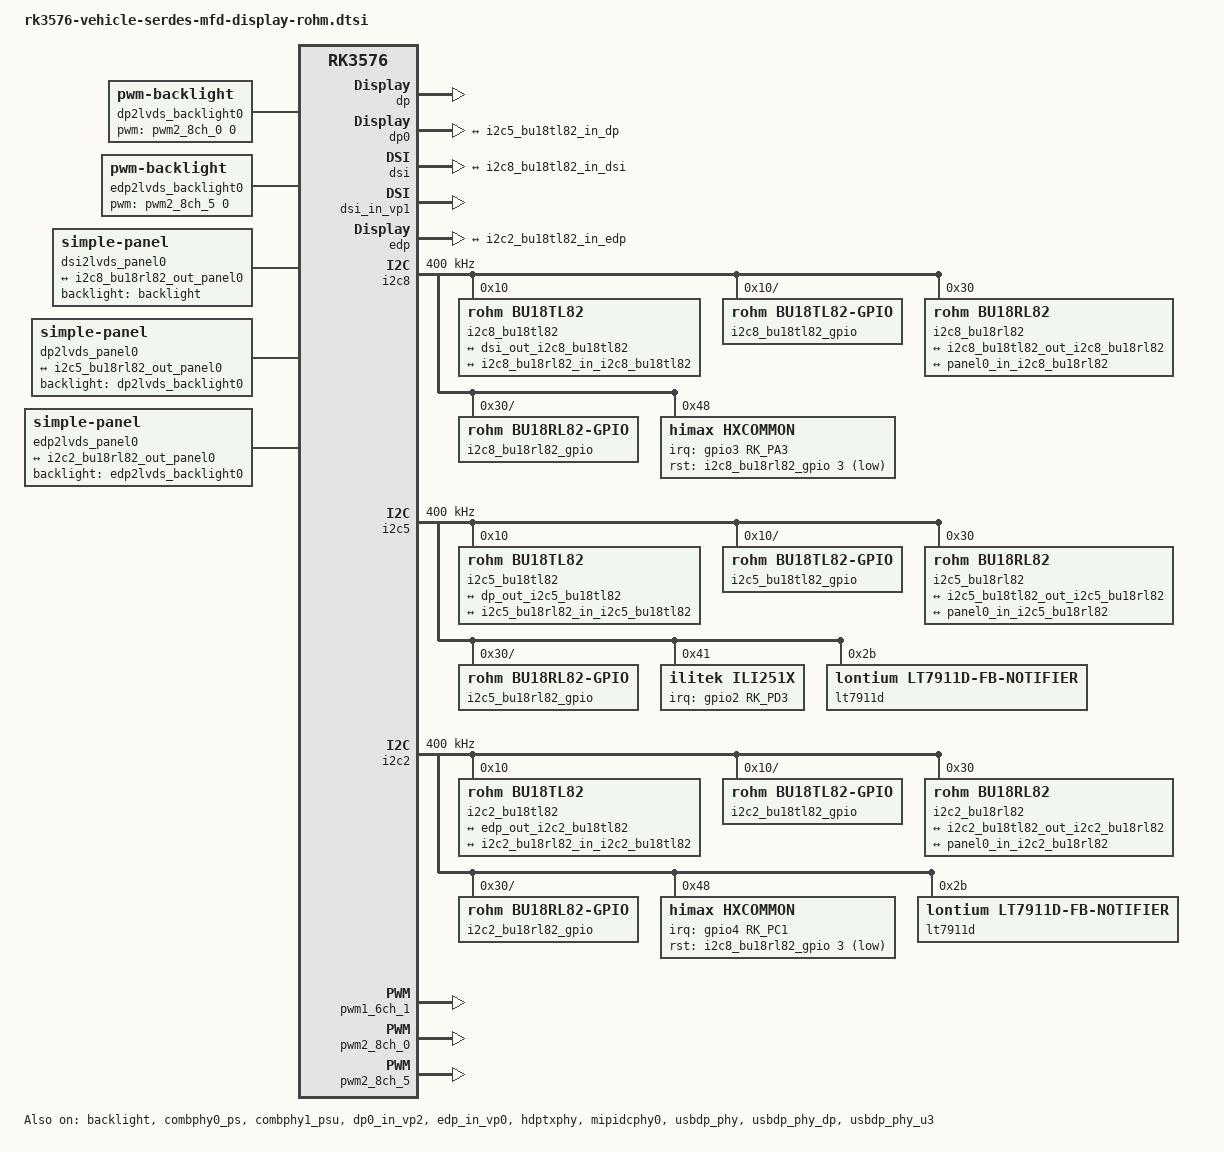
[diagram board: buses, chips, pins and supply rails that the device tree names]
// SPDX-License-Identifier: (GPL-2.0+ OR MIT)
/*
 * Copyright (c) 2023 Rockchip Electronics Co., Ltd.
 *
 */

/ {

	dp2lvds_backlight0: dp2lvds_backlight0 {
		compatible = "pwm-backlight";
		brightness-levels = <
			  0  20  20  21  21  22  22  23
			 23  24  24  25  25  26  26  27
			 27  28  28  29  29  30  30  31
			 31  32  32  33  33  34  34  35
			 35  36  36  37  37  38  38  39
			 40  41  42  43  44  45  46  47
			 48  49  50  51  52  53  54  55
			 56  57  58  59  60  61  62  63
			 64  65  66  67  68  69  70  71
			 72  73  74  75  76  77  78  79
			 80  81  82  83  84  85  86  87
			 88  89  90  91  92  93  94  95
			 96  97  98  99 100 101 102 103
			104 105 106 107 108 109 110 111
			112 113 114 115 116 117 118 119
			120 121 122 123 124 125 126 127
			128 129 130 131 132 133 134 135
			136 137 138 139 140 141 142 143
			144 145 146 147 148 149 150 151
			152 153 154 155 156 157 158 159
			160 161 162 163 164 165 166 167
			168 169 170 171 172 173 174 175
			176 177 178 179 180 181 182 183
			184 185 186 187 188 189 190 191
			192 193 194 195 196 197 198 199
			200 201 202 203 204 205 206 207
			208 209 210 211 212 213 214 215
			216 217 218 219 220 221 222 223
			224 225 226 227 228 229 230 231
			232 233 234 235 236 237 238 239
			240 241 242 243 244 245 246 247
			248 249 250 251 252 253 254 255
		>;
		default-brightness-level = <200>;
	};

	edp2lvds_backlight0: edp2lvds_backlight0 {
		compatible = "pwm-backlight";
		brightness-levels = <
			  0  20  20  21  21  22  22  23
			 23  24  24  25  25  26  26  27
			 27  28  28  29  29  30  30  31
			 31  32  32  33  33  34  34  35
			 35  36  36  37  37  38  38  39
			 40  41  42  43  44  45  46  47
			 48  49  50  51  52  53  54  55
			 56  57  58  59  60  61  62  63
			 64  65  66  67  68  69  70  71
			 72  73  74  75  76  77  78  79
			 80  81  82  83  84  85  86  87
			 88  89  90  91  92  93  94  95
			 96  97  98  99 100 101 102 103
			104 105 106 107 108 109 110 111
			112 113 114 115 116 117 118 119
			120 121 122 123 124 125 126 127
			128 129 130 131 132 133 134 135
			136 137 138 139 140 141 142 143
			144 145 146 147 148 149 150 151
			152 153 154 155 156 157 158 159
			160 161 162 163 164 165 166 167
			168 169 170 171 172 173 174 175
			176 177 178 179 180 181 182 183
			184 185 186 187 188 189 190 191
			192 193 194 195 196 197 198 199
			200 201 202 203 204 205 206 207
			208 209 210 211 212 213 214 215
			216 217 218 219 220 221 222 223
			224 225 226 227 228 229 230 231
			232 233 234 235 236 237 238 239
			240 241 242 243 244 245 246 247
			248 249 250 251 252 253 254 255
		>;
		default-brightness-level = <200>;
	};

	dsi2lvds_panel0 {
		compatible = "simple-panel";
		backlight = <&backlight>;

		display-timings {
			native-mode = <&dsi2lvds0>;
			dsi2lvds0: timing0 {
				clock-frequency = <115000000>;//115000000/105573600
				hactive = <1920>;
				vactive = <720>;
				hfront-porch = <56>;
				hsync-len = <32>;
				hback-porch = <56>;
				vfront-porch = <200>;
				vsync-len = <2>;
				vback-porch = <8>;
				hsync-active = <0>;
				vsync-active = <0>;
				de-active = <0>;
				pixelclk-active = <0>;
			};
		};

		ports {
			#address-cells = <1>;
			#size-cells = <0>;

			port@0 {
				reg = <0>;
				panel0_in_i2c8_bu18rl82: endpoint {
					remote-endpoint = <&i2c8_bu18rl82_out_panel0>;
				};
			};
		};
	};

	dp2lvds_panel0 {
		compatible = "simple-panel";
		backlight = <&dp2lvds_backlight0>;
		status = "okay";

		panel-timing {
			clock-frequency = <148500000>;
			hactive = <1920>;
			vactive = <1080>;
			hfront-porch = <140>;
			hsync-len = <40>;
			hback-porch = <100>;
			vfront-porch = <15>;
			vsync-len = <20>;
			vback-porch = <10>;
			hsync-active = <0>;
			vsync-active = <0>;
			de-active = <0>;
			pixelclk-active = <0>;
		};

		port {
			panel0_in_i2c5_bu18rl82: endpoint {
				remote-endpoint = <&i2c5_bu18rl82_out_panel0>;
			};
		};
	};

	edp2lvds_panel0 {
		compatible = "simple-panel";
		backlight = <&edp2lvds_backlight0>;
		status = "okay";

		panel-timing {
			clock-frequency = <115000000>;//115000000/105573600
			hactive = <1920>;
			vactive = <720>;
			hfront-porch = <56>;
			hsync-len = <32>;
			hback-porch = <56>;
			vfront-porch = <200>;
			vsync-len = <2>;
			vback-porch = <8>;
			hsync-active = <0>;
			vsync-active = <0>;
			de-active = <0>;
			pixelclk-active = <0>;
		};

		port {
			panel0_in_i2c2_bu18rl82: endpoint {
				remote-endpoint = <&i2c2_bu18rl82_out_panel0>;
			};
		};
	};
};

&backlight {
	pwms = <&pwm1_6ch_1 0 25000 0>;
	//pinctrl-names = "default";
	//pinctrl-0 = <&i2c8_serdes_pins>;
	//enable-gpios = <&gpio3 RK_PA2 GPIO_ACTIVE_HIGH>;
	status = "okay";
};

&combphy0_ps {
	status = "okay";
};

&combphy1_psu {
	status = "okay";
};

&dp {
	//split-mode;
	force-hpd;

	status = "okay";
};

&dp0 {
	status = "okay";

	ports {
		port@1 {
			reg = <1>;

			dp_out_i2c5_bu18tl82: endpoint {
				remote-endpoint = <&i2c5_bu18tl82_in_dp>;
			};
		};
	};
};

&dp0_in_vp0 {
	status = "disabled";
};

&dp0_in_vp1 {
	status = "disabled";
};

&dp0_in_vp2 {
	status = "okay";
};

&dp2lvds_backlight0 {
	pwms = <&pwm2_8ch_0 0 25000 0>;
	//pinctrl-names = "default";
	//pinctrl-0 = <&i2c5_serdes_pins>;
	//enable-gpios = <&gpio2 RK_PD2 GPIO_ACTIVE_HIGH>;
	status = "okay";
};

/*
 * mipi_dcphy needs to be enabled
 * when dsi is enabled
 */
&dsi {
	status = "okay";

	ports {
		#address-cells = <1>;
		#size-cells = <0>;

		port@1 {
			reg = <1>;

			dsi_out_i2c8_bu18tl82: endpoint {
				remote-endpoint = <&i2c8_bu18tl82_in_dsi>;
			};
		};
	};
};

&dsi_in_vp0 {
	status = "disabled";
};

&dsi_in_vp1 {
	status = "okay";
};

&dsi_in_vp2 {
	status = "disabled";
};

&edp {
	//split-mode;
	force-hpd;
	status = "okay";

	ports {
		port@1 {
			reg = <1>;

			edp_out_i2c2_bu18tl82: endpoint {
				remote-endpoint = <&i2c2_bu18tl82_in_edp>;
			};
		};
	};
};

&edp_in_vp0 {
	status = "okay";
};

&edp_in_vp1 {
	status = "disabled";
};

&edp_in_vp2 {
	status = "disabled";
};

&edp2lvds_backlight0 {
	pwms = <&pwm2_8ch_5 0 25000 0>;
	//pinctrl-names = "default";
	//pinctrl-0 = <&i2c2_serdes_pins>;
	//enable-gpios = <&gpio2 RK_PB0 GPIO_ACTIVE_HIGH>;
	status = "okay";
};

&hdmi {
	status = "disabled";
};


&hdptxphy {
	status = "okay";
};

&hdptxphy_hdmi {
	status = "disabled";
};


&i2c8 {
	status = "okay";
	pinctrl-names = "default";
	pinctrl-0 = <&i2c8m2_xfer>;
	clock-frequency = <400000>;

	i2c8_bu18tl82: i2c8-bu18tl82@10 {
		compatible = "rohm,bu18tl82";
		reg = <0x10>;
		sel-mipi;
		status = "okay";

		serdes-init-sequence = [
			0013 0019
			0014 0008	//014h[3]-lane1 enable
			0021 0008
			0023 0009
			0024 0009
			022b 0038
			022c 0072
			022d 0023	//VPLL=75MHZS
			//022b 00d8
			//022c 0089
			//022d 003d	//VPLL=99MHz (ref26MHz) 4032984*26/1024x1024=99M
			022e 0080
			027c 0048
			027d 0048	//i2c addr 0x48
			0296 0004
			0297 0009	//CLLTX0_PLL_GAIN 297h[3:2] 1001 2'b10: 1.2~2.3 Gbps/lane
			//0297 000d	//CLLTX0_PLL_GAIN 297h[3:2] 1101 2'b11: 2.2~3.6 Gbps/lane
			0018 00a5
			0019 0069
			0267 003d
			0268 002c
			0269 002c
			026a 002c
			026b 002c
			0367 003d
			0368 002c
			0369 002c
			036a 002c
			036b 002c
			0018 0000
			0019 0000
			//002a 0018	//gpio0 input		lcd_bl_pwm
			//002d 0018	//gpio1 input		lcd_pwr_en

			//0030 0018	//gpio2 input		lcd_rst
			//0033 0018	//gpio3 input		tp_rst
			//0034 0005	//bypass des gpio3
			//0036 0000	//gpio4 output		tp_int
			//0037 0006	//bypass des gpio4

			02a7 0002
			02a8 0003
			02a9 0004
			02aa 0005
			02af 0002	//gpio0 1MHZ
			0045 0080
			0046 0007	//1920
			004b 00d0
			004c 0002	//720
			004d 00d0
			004e 0002	//720
			0051 0080
			0052 0007	//1920
			0053 0024	//CLLCH2_EN 53h[5] 0:1 Clock Tx lane/1:2 Clock Tx lanes
			0054 0080
			024d 0061
			0252 0005
			0274 0030	//I2C slave address of BU18RL82 for accessing via BU18TL82
			0275 0020
			0396 0004
			0397 0009	//CLLTX0_PLL_GAIN 397h[3:2] 1001 2'b10: 1.2~2.31 Gbps/lane
			//0397 000d	//CLLTX0_PLL_GAIN 397h[3:2] 1101 2'b11: 2.2~3.60 Gbps/lane
			0061 0003	//CLLTX0 enable CLLTX1 enable
			0060 0003	//CLLTX0/1 RGB data output Enable
			/* TL82 Pattern Gen Set 1
			 * Horizontal Gray Scale 256 steps
			 */
			040A 0010
			040B 0080
			040C 0080
			040D 0080
			0444 0090
			0446 00d2
		];

		i2c8_bu18tl82_pinctrl: i2c8-bu18tl82-pinctrl {
			compatible = "rohm,bu18tl82-pinctrl";
			pinctrl-names = "default","sleep";
			pinctrl-0 = <&i2c8_bu18tl82_panel_pins>;
			pinctrl-1 = <&i2c8_bu18tl82_panel_pins>;
			status = "okay";

			i2c8_bu18tl82_panel_pins: panel-pins {
				lcd-bl-pwm {
					pins = "BU18TL82_GPIO0";
					function = "SER_TO_DES_GPIO0";
				};

				lcd-pwr-en {
					pins = "BU18TL82_GPIO1";
					function = "SER_TO_DES_GPIO1";
				};

				ser-irq {
					pins = "BU18TL82_GPIO2";
					function = "DES_GPIO2_TO_SER";
				};

				tp-int {
					pins = "BU18TL82_GPIO3";
					function = "DES_GPIO4_TO_SER";
				};
			};

			i2c8_bu18tl82_gpio: i2c8-bu18tl82-gpio {
				compatible = "rohm,bu18tl82-gpio";
				status = "okay";

				gpio-controller;
				#gpio-cells = <2>;
				gpio-ranges = <&i2c8_bu18tl82_pinctrl 0 160 8>;
			};
		};

		i2c8_bu18tl82_bridge: i2c8-bu18tl82-bridge {
			compatible = "rohm,bu18tl82-bridge";
			status = "okay";

			ports {
				#address-cells = <1>;
				#size-cells = <0>;

				port@0 {
					reg = <0>;

					i2c8_bu18tl82_in_dsi: endpoint {
						remote-endpoint = <&dsi_out_i2c8_bu18tl82>;
					};
				};

				port@1 {
					reg = <1>;

					i2c8_bu18tl82_out_i2c8_bu18rl82: endpoint {
						remote-endpoint = <&i2c8_bu18rl82_in_i2c8_bu18tl82>;
					};
				};
			};
		};

	};

	i2c8_bu18rl82: i2c8-bu18rl82@30 {
		compatible = "rohm,bu18rl82";
		reg = <0x30>;
		status = "okay";

		serdes-init-sequence = [
			0011 0003	//Clockless Link Receiver Lane-0+ LVDS portA
			0012 0003	//Clockless Link Receiver Lane-1+ LVDS portB
			0013 0000
			001d 0008
			001f 0002	//LVDSTX0_REFSEL
			0020 0002	//LVDSTX1_REFSEL
			0031 0048
			0032 0048	//i2c addr 0x48
			0423 0000
			0424 0000
			0425 0020
			0426 0080
			0057 0000	//rl gpio0 output	lcd_bl_pwm
			0058 0000	//bypass ser gpio0
			005a 0000	//rl gpio1 output	lcd_pwr_en
			005b 0000	//bypass ser gpio1
			005d 0000	//rl gpio2 output	lcd_rst
			005e 0000	//bypass ser gpio2
			0060 0000	//rl gpio3 output	tp-rst
			0061 0000	//bypass ser gpio3
			0063 0018	//rl gpio4 input	tp-int
			0064 0006	//bypass ser gpio4
			0066 0000	//rl gpio5 output
			0067 0000	//set gpio5 high

			0073 0080
			0074 0007	//0x0780 = 1920
			0075 0080
			0076 0007	//0x0780 = 1920
			0079 000a	//h[3]: dual lvds mode h[1] single lane / dual lane
			007b 00d0
			007c 0002	//0x02d0 = 720
			007d 00d0
			007e 0002	//0x02d0 = 720
			0081 0003	//01---> Sync OFF
			0082 0010	//Hsync=16clk
			0084 001c	//HBP=28clk
			0086 0002	//Vsync=2lines
			0087 0008	//VBP=8lines
			0088 0000	//VSYNC_CHG=0CLK
			0089 0010	//Hsync = 16?
			008b 001c	//HFP=28clk?
			008d 0002	//Vsync=2lines?
			008e 0008	//VFP=8line?
			008f 0000	//VSYNC_CHG=0CLK?
			00d0 0040	//[3]FixHtotalEN
			00d8 00c0
			00d9 0003	//DE=960
			0429 000a	//LVDSTX0_PLLGAIN 2'b10: 30 MHz ~ 80 MHz
			045d 0001
			0529 000a	//LVDSTX1_PLLGAIN 2'b10: 30 MHz ~ 80 MHz
			055d 0001
			0091 0003
			0090 0001
			/* RL82 Pattern Gen Set
			 * Vertical Gray Scale Color Bar
			 */
			060A 00B0
			060B 00FF
			060C 00FF
			060D 00FF
			0644 0090
			0646 00d2
		];

		i2c8_bu18rl82_pinctrl: i2c8-bu18rl82-pinctrl {
			compatible = "rohm,bu18rl82-pinctrl";
			pinctrl-names = "default","init","sleep";
			pinctrl-0 = <&i2c8_bu18rl82_panel_pins>;
			pinctrl-1 = <&i2c8_bu18rl82_panel_pins>;
			pinctrl-2 = <&i2c8_bu18rl82_panel_sleep_pins>;
			status = "okay";

			i2c8_bu18rl82_panel_pins: panel-pins {
				lcd-otp-pin {
					pins = "BU18RL82_GPIO5";
					function = "DES_GPIO_OUTPUT_HIGH";
				};
				tp-rst {
					pins = "BU18RL82_GPIO3";
					function = "DES_GPIO_OUTPUT_HIGH";
				};
				lcd-rst {
					pins = "BU18RL82_GPIO2";
					function = "DES_GPIO_OUTPUT_HIGH";
				};
				tp-int {
					pins = "BU18RL82_GPIO4";
					function = "DES_TO_SER_GPIO3";
				};
				40ms-delay {
					pins = "BU18RL82_GPIO1";
					function = "DELAY_40MS";
				};
				lcd-pwr-en {
					pins = "BU18RL82_GPIO1";
					function = "DES_GPIO_OUTPUT_HIGH";
				};
				lcd-bl-pwm {
					pins = "BU18RL82_GPIO0";
					function = "SER_GPIO0_TO_DES";
				};
			};

			i2c8_bu18rl82_panel_sleep_pins: panel-sleep-pins {
				lcd-rst-sleep {
					pins = "BU18RL82_GPIO2";
					function = "DES_GPIO_OUTPUT_LOW";
				};
				tp-rst-sleep {
					pins = "BU18RL82_GPIO3";
					function = "DES_GPIO_OUTPUT_LOW";
				};
				lcd-otp-pin-sleep {
					pins = "BU18RL82_GPIO5";
					function = "DES_GPIO_OUTPUT_LOW";
				};
			};

			i2c8_bu18rl82_gpio: i2c8-bu18rl82-gpio {
				compatible = "rohm,bu18rl82-gpio";
				status = "okay";

				gpio-controller;
				#gpio-cells = <2>;
				gpio-ranges = <&i2c8_bu18rl82_pinctrl 0 169 8>;
			};
		};

		i2c8_bu18rl82_bridge: i2c8-bu18rl82-bridge {
			compatible = "rohm,bu18rl82-bridge";
			status = "okay";

			ports {
				#address-cells = <1>;
				#size-cells = <0>;

				port@0 {
					reg = <0>;

					i2c8_bu18rl82_in_i2c8_bu18tl82: endpoint {
						remote-endpoint = <&i2c8_bu18tl82_out_i2c8_bu18rl82>;
					};
				};

				port@1 {
					reg = <1>;

					i2c8_bu18rl82_out_panel0: endpoint {
						remote-endpoint = <&panel0_in_i2c8_bu18rl82>;
					};
				};
			};
		};
	};

	himax@48 {
		compatible = "himax,hxcommon";
		reg = <0x48>;
		pinctrl-names = "default", "sleep";
		pinctrl-0 = <&touch_gpio_dsi>;
		pinctrl-1 = <&touch_gpio_dsi>;
		himax,location = "himax-touch-dsi";
		himax,irq-gpio = <&gpio3 RK_PA3 IRQ_TYPE_EDGE_FALLING>;
		himax,rst-gpio = <&i2c8_bu18rl82_gpio 3 GPIO_ACTIVE_LOW>;
		himax,panel-coords = <0 1920 0 720>;
		himax,display-coords = <0 1920 0 720>;
		status = "okay";
	};
};

&i2c5 {
	pinctrl-names = "default";
	pinctrl-0 = <&i2c5m3_xfer>;
	clock-frequency = <400000>;
	status = "okay";

	i2c5_bu18tl82: i2c5-bu18tl82@10 {
		compatible = "rohm,bu18tl82";
		reg = <0x10>;
		status = "okay";

		serdes-init-sequence = [
			0013 001a
			0014 000a
			0021 0008
			0023 0009
			0024 0009
			//002a 0018	//gpio0 input		lcd_bl_pwm
			//002d 0018	//gpio1 input		lcd_pwr_en

			//0030 0018	//gpio2 input		lcd_rst
			//0033 0000	//gpio3 output		tp_int
			//0034 0005	//bypass des gpio3
			//0036 0018	//gpio4 input		tp_rst
			//0037 0006	//bypass des gpio4
			027c 0041
			027d 0041
			0045 0080
			0046 0007
			004b 0038
			004c 0004
			0053 0064
			022b 0062
			022c 0027
			022d 002e
			0274 0030
			0275 0020
			0296 0004
			0297 000d
			02af 0002	//gpio0 1MHZ
			02b2 00c8
			02b4 0001
			02b8 00ff
			02b9 000f
			02ba 00ff
			02bb 000f
			02be 00ff
			02bf 001f
			02c2 00ff
			02c3 001f
			0396 0004
			0397 000d
			03b2 00c8
			03b4 0001
			03b8 00ff
			03b9 000f
			03ba 00ff
			03bb 000f
			03be 00ff
			03bf 001f
			03c2 00ff
			03c3 001f
			0060 0001
			0061 0003
			022e 0080
			032e 0080
			/* TL82 Pattern Gen Set 1
			 * Horizontal Gray Scale 256 steps
			 */
			040A 0010
			040B 0080
			040C 0080
			040D 0080
			0444 0019
			0445 0020
			0446 001f

		];

		i2c5_bu18tl82_pinctrl: i2c5-bu18tl82-pinctrl {
			compatible = "rohm,bu18tl82-pinctrl";
			pinctrl-names = "default","sleep";
			pinctrl-0 = <&i2c5_bu18tl82_panel_pins>;
			pinctrl-1 = <&i2c5_bu18tl82_panel_pins>;
			status = "okay";

			i2c5_bu18tl82_panel_pins: panel-pins {
				lcd-bl-pwm {
					pins = "BU18TL82_GPIO0";
					function = "SER_TO_DES_GPIO0";
				};

				lcd-pwr-en {
					pins = "BU18TL82_GPIO1";
					function = "SER_TO_DES_GPIO1";
				};

				ser-irq {
					pins = "BU18TL82_GPIO2";
					function = "DES_GPIO2_TO_SER";
				};

				tp-int {
					pins = "BU18TL82_GPIO3";
					function = "DES_GPIO3_TO_SER";
				};

			};

			i2c5_bu18tl82_gpio: i2c5-bu18tl82-gpio {
				compatible = "rohm,bu18tl82-gpio";
				status = "okay";

				gpio-controller;
				#gpio-cells = <2>;
				gpio-ranges = <&i2c5_bu18tl82_pinctrl 0 178 8>;
			};
		};

		i2c5_bu18tl82_bridge: i2c5-bu18tl82-bridge {
			compatible = "rohm,bu18tl82-bridge";
			status = "okay";

			ports {
				#address-cells = <1>;
				#size-cells = <0>;

				port@0 {
					reg = <0>;

					i2c5_bu18tl82_in_dp: endpoint {
						remote-endpoint = <&dp_out_i2c5_bu18tl82>;
					};
				};

				port@1 {
					reg = <1>;

					i2c5_bu18tl82_out_i2c5_bu18rl82: endpoint {
						remote-endpoint = <&i2c5_bu18rl82_in_i2c5_bu18tl82>;
					};
				};
			};
		};

	};

	i2c5_bu18rl82: i2c5-bu18rl82@30 {
		compatible = "rohm,bu18rl82";
		reg = <0x30>;
		status = "okay";

		serdes-init-sequence = [
			0011 000b
			0012 0003
			0013 0001
			001d 0008
			001f 0002
			0020 0002
			0031 0041	//i2c addr 0x41
			0032 0041	//i2c addr 0x41
			0057 0000	//rl gpio0 output	lcd_bl_pwm
			0058 0000	//set gpio0 low
			005a 0000	//rl gpio1 output	lcd_pwr_en
			005b 0000	//set gpio1 low
			005d 0000	//rl gpio2 output	lcd_rst
			005e 0000	//set gpio2 low
			0060 0000	//rl gpio3 output	tp-rst
			0061 0000	//set gpio3 low
			0063 0018	//rl gpio4 input	tp-int
			0064 0006	//bypass ser gpio4
			0066 0000	//rl gpio5 output
			0067 0000	//set gpio5 low
			0073 0080
			0074 0007
			0079 000a
			007b 0038
			007c 0004
			0081 0003
			0082 0010
			0084 0020
			0086 0002
			0087 0002
			0088 0010
			0089 0010
			008b 0020
			008d 0002
			008e 0002
			008f 0010
			00d0 0040
			00d8 0042
			00d9 0004
			0423 0002
			0424 00ec
			0425 0027
			0429 000a
			045d 0001
			0529 000a
			055d 0003
			0090 0001
			0091 0003
			0426 0080
			042d 0004
			/* RL82 Pattern Gen Set
			 * Vertical Gray Scale Color Bar
			 */
			060A 00B0
			060B 00FF
			060C 00FF
			060D 00FF
			0644 0019
			0645 0020
			0646 001f

		];

		i2c5_bu18rl82_pinctrl: i2c5-bu18rl82-pinctrl {
			compatible = "rohm,bu18rl82-pinctrl";
			pinctrl-names = "default","init","sleep";
			pinctrl-0 = <&i2c5_bu18rl82_panel_pins>;
			pinctrl-1 = <&i2c5_bu18rl82_panel_pins>;
			pinctrl-2 = <&i2c5_bu18rl82_panel_sleep_pins>;
			status = "okay";

			i2c5_bu18rl82_panel_pins: panel-pins {
				lcd-otp-pin {
					pins = "BU18RL82_GPIO5";
					function = "DES_GPIO_OUTPUT_HIGH";
				};

				tp-rst {
					pins = "BU18RL82_GPIO3";
					function = "DES_GPIO_OUTPUT_HIGH";
				};

				lcd-rst {
					pins = "BU18RL82_GPIO2";
					function = "DES_GPIO_OUTPUT_HIGH";
				};

				tp-int {
					pins = "BU18RL82_GPIO4";
					function = "DES_TO_SER_GPIO3";
				};

				40ms-delay {
					pins = "BU18RL82_GPIO1";
					function = "DELAY_40MS";
				};

				lcd-pwr-en {
					pins = "BU18RL82_GPIO1";
					function = "DES_GPIO_OUTPUT_HIGH";
				};

				lcd-bl-pwm {
					pins = "BU18RL82_GPIO0";
					function = "SER_GPIO0_TO_DES";
				};
			};

			i2c5_bu18rl82_panel_sleep_pins: panel-sleep-pins {
				lcd-rst-sleep {
					pins = "BU18RL82_GPIO2";
					function = "DES_GPIO_OUTPUT_LOW";
				};

				tp-rst-sleep {
					pins = "BU18RL82_GPIO4";
					function = "DES_GPIO_OUTPUT_LOW";
				};

				lcd-otp-pin-sleep {
					pins = "BU18RL82_GPIO5";
					function = "DES_GPIO_OUTPUT_LOW";
				};
			};

			i2c5_bu18rl82_gpio: i2c5-bu18rl82-gpio {
				compatible = "rohm,bu18rl82-gpio";
				status = "okay";

				gpio-controller;
				#gpio-cells = <2>;
				gpio-ranges = <&i2c5_bu18rl82_pinctrl 0 187 8>;
			};
		};

		i2c5_bu18rl82_bridge: i2c5-bu18rl82-bridge {
			compatible = "rohm,bu18rl82-bridge";
			status = "okay";

			ports {
				#address-cells = <1>;
				#size-cells = <0>;

				port@0 {
					reg = <0>;

					i2c5_bu18rl82_in_i2c5_bu18tl82: endpoint {
						remote-endpoint = <&i2c5_bu18tl82_out_i2c5_bu18rl82>;
					};
				};

				port@1 {
					reg = <1>;

					i2c5_bu18rl82_out_panel0: endpoint {
						remote-endpoint = <&panel0_in_i2c5_bu18rl82>;
					};
				};
			};
		};
	};

	ilitek@41 {
		compatible = "ilitek,ili251x";
		reg = <0x41>;
		interrupt-parent = <&gpio2>;
		interrupts = <RK_PD3 IRQ_TYPE_LEVEL_LOW>;
		pinctrl-names = "default";
		pinctrl-0 = <&touch_gpio_dp>;
		//reset-gpio = <&gpio0 RK_PD1 GPIO_ACTIVE_LOW>;
		ilitek,name = "ilitek_i2c";
		status = "okay";
	};

	lt7911d@2b {
		compatible = "lontium,lt7911d-fb-notifier";
		reg = <0x2b>;
		status = "okay";
	};
};

&i2c2 {
	pinctrl-0 = <&i2c2m3_xfer>;
	clock-frequency = <400000>;
	status = "okay";

	i2c2_bu18tl82: i2c2-bu18tl82@10 {
		compatible = "rohm,bu18tl82";
		reg = <0x10>;
		status = "okay";

		serdes-init-sequence = [
			0013 001a
			0014 000a
			0021 0008
			0023 0009
			0024 0009
			//002a 0018	//gpio0 input		lcd_bl_pwm
			//002d 0018	//gpio1 input		lcd_pwr_en

			//0030 0018	//gpio2 input		lcd_rst
			//0033 0000	//gpio3 output		tp_int
			//0034 0005	//bypass des gpio3
			//0036 0018	//gpio4 input		tp_rst
			//0037 0006	//bypass des gpio4
			027c 0041
			027d 0041
			0045 0080
			0046 0007
			004b 0038
			004c 0004
			0053 0064
			022b 0062
			022c 0027
			022d 002e
			0274 0030
			0275 0020
			0296 0004
			0297 000d
			02af 0002	//gpio0 1MHZ
			02b2 00c8
			02b4 0001
			02b8 00ff
			02b9 000f
			02ba 00ff
			02bb 000f
			02be 00ff
			02bf 001f
			02c2 00ff
			02c3 001f
			0396 0004
			0397 000d
			03b2 00c8
			03b4 0001
			03b8 00ff
			03b9 000f
			03ba 00ff
			03bb 000f
			03be 00ff
			03bf 001f
			03c2 00ff
			03c3 001f
			0060 0001
			0061 0003
			022e 0080
			032e 0080
			/* TL82 Pattern Gen Set 1
			 * Horizontal Gray Scale 256 steps
			 */
			040A 0010
			040B 0080
			040C 0080
			040D 0080
			0444 0019
			0445 0020
			0446 001f
		];

		i2c2_bu18tl82_pinctrl: i2c2-bu18tl82-pinctrl {
			compatible = "rohm,bu18tl82-pinctrl";
			pinctrl-names = "default","sleep";
			pinctrl-0 = <&i2c2_bu18tl82_panel_pins>;
			pinctrl-1 = <&i2c2_bu18tl82_panel_pins>;
			status = "okay";

			i2c2_bu18tl82_panel_pins: panel-pins {
				lcd-bl-pwm {
					pins = "BU18TL82_GPIO0";
					function = "SER_TO_DES_GPIO0";
				};

				lcd-pwr-en {
					pins = "BU18TL82_GPIO1";
					function = "SER_TO_DES_GPIO1";
				};

				ser-irq {
					pins = "BU18TL82_GPIO2";
					function = "DES_GPIO2_TO_SER";
				};

				tp-int {
					pins = "BU18TL82_GPIO3";
					function = "DES_GPIO3_TO_SER";
				};
			};


			i2c2_bu18tl82_gpio: i2c2-bu18tl82-gpio {
				compatible = "rohm,bu18tl82-gpio";
				status = "okay";

				gpio-controller;
				#gpio-cells = <2>;
				gpio-ranges = <&i2c2_bu18tl82_pinctrl 0 196 8>;
			};
		};

		i2c2_bu18tl82_bridge: i2c2-bu18tl82-bridge {
			compatible = "rohm,bu18tl82-bridge";
			status = "okay";

			ports {
				#address-cells = <1>;
				#size-cells = <0>;

				port@0 {
					reg = <0>;

					i2c2_bu18tl82_in_edp: endpoint {
						remote-endpoint = <&edp_out_i2c2_bu18tl82>;
					};
				};

				port@1 {
					reg = <1>;

					i2c2_bu18tl82_out_i2c2_bu18rl82: endpoint {
						remote-endpoint = <&i2c2_bu18rl82_in_i2c2_bu18tl82>;
					};
				};
			};
		};

	};

	i2c2_bu18rl82: i2c2-bu18rl82@30 {
		compatible = "rohm,bu18rl82";
		reg = <0x30>;
		status = "okay";

		serdes-init-sequence = [
			0011 000b
			0012 0003
			0013 0001
			001d 0008
			001f 0002
			0020 0002
			0031 0041	//i2c addr 0x41
			0032 0041	//i2c addr 0x41
			0057 0000	//rl gpio0 output	lcd_bl_pwm
			0058 0000	//set gpio0 low
			005a 0000	//rl gpio1 output	lcd_pwr_en
			005b 0000	//set gpio1 low
			005d 0000	//rl gpio2 output	lcd_rst
			005e 0000	//set gpio2 low
			0060 0000	//rl gpio3 output	tp-rst
			0061 0000	//set gpio3 low
			0063 0018	//rl gpio4 input	tp-int
			0064 0006	//bypass ser gpio4
			0066 0000	//rl gpio5 output
			0067 0000	//set gpio5 low
			0073 0080
			0074 0007
			0079 000a
			007b 0038
			007c 0004
			0081 0003
			0082 0010
			0084 0020
			0086 0002
			0087 0002
			0088 0010
			0089 0010
			008b 0020
			008d 0002
			008e 0002
			008f 0010
			00d0 0040
			00d8 0042
			00d9 0004
			0423 0002
			0424 00ec
			0425 0027
			0429 000a
			045d 0001
			0529 000a
			055d 0003
			0090 0001
			0091 0003
			0426 0080
			042d 0004
			/* RL82 Pattern Gen Set
			 * Vertical Gray Scale Color Bar
			 */
			060A 00B0
			060B 00FF
			060C 00FF
			060D 00FF
			0644 0019
			0645 0020
			0646 001f
		];

		i2c2_bu18rl82_pinctrl: i2c2-bu18rl82-pinctrl {
			compatible = "rohm,bu18rl82-pinctrl";
			pinctrl-names = "default","init","sleep";
			pinctrl-0 = <&i2c2_bu18rl82_panel_pins>;
			pinctrl-1 = <&i2c2_bu18rl82_panel_pins>;
			pinctrl-2 = <&i2c2_bu18rl82_panel_sleep_pins>;
			status = "okay";

			i2c2_bu18rl82_panel_pins: panel-pins {
				lcd-otp-pin {
					pins = "BU18RL82_GPIO5";
					function = "DES_GPIO_OUTPUT_HIGH";
				};

				tp-rst {
					pins = "BU18RL82_GPIO3";
					function = "DES_GPIO_OUTPUT_HIGH";
				};

				lcd-rst {
					pins = "BU18RL82_GPIO2";
					function = "DES_GPIO_OUTPUT_HIGH";
				};

				tp-int {
					pins = "BU18RL82_GPIO4";
					function = "DES_TO_SER_GPIO3";
				};

				40ms-delay {
					pins = "BU18RL82_GPIO1";
					function = "DELAY_40MS";
				};

				lcd-pwr-en {
					pins = "BU18RL82_GPIO1";
					function = "DES_GPIO_OUTPUT_HIGH";
				};

				lcd-bl-pwm {
					pins = "BU18RL82_GPIO0";
					function = "SER_GPIO0_TO_DES";
				};
			};

			i2c2_bu18rl82_panel_sleep_pins: panel-sleep-pins {
				lcd-rst-sleep {
					pins = "BU18RL82_GPIO2";
					function = "DES_GPIO_OUTPUT_LOW";
				};

				tp-rst-sleep {
					pins = "BU18RL82_GPIO4";
					function = "DES_GPIO_OUTPUT_LOW";
				};

				lcd-otp-pin-sleep {
					pins = "BU18RL82_GPIO5";
					function = "DES_GPIO_OUTPUT_LOW";
				};
			};

			i2c2_bu18rl82_gpio: i2c2-bu18rl82-gpio {
				compatible = "rohm,bu18rl82-gpio";
				status = "okay";

				gpio-controller;
				#gpio-cells = <2>;
				gpio-ranges = <&i2c2_bu18rl82_pinctrl 0 205 8>;
			};
		};

		i2c2_bu18rl82_bridge: i2c2-bu18rl82-bridge {
			compatible = "rohm,bu18rl82-bridge";
			status = "okay";

			ports {
				#address-cells = <1>;
				#size-cells = <0>;

				port@0 {
					reg = <0>;

					i2c2_bu18rl82_in_i2c2_bu18tl82: endpoint {
						remote-endpoint = <&i2c2_bu18tl82_out_i2c2_bu18rl82>;
					};
				};

				port@1 {
					reg = <1>;

					i2c2_bu18rl82_out_panel0: endpoint {
						remote-endpoint = <&panel0_in_i2c2_bu18rl82>;
					};
				};
			};
		};
	};

	himax@48 {
		compatible = "himax,hxcommon";
		reg = <0x48>;
		pinctrl-names = "default", "sleep";
		pinctrl-0 = <&touch_gpio_edp>;
		pinctrl-1 = <&touch_gpio_edp>;
		himax,location = "himax-touch-edp";
		himax,irq-gpio = <&gpio4 RK_PC1 IRQ_TYPE_EDGE_FALLING>;
		himax,rst-gpio = <&i2c8_bu18rl82_gpio 3 GPIO_ACTIVE_LOW>;
		himax,panel-coords = <0 1920 0 720>;
		himax,display-coords = <0 1920 0 720>;
		status = "okay";
	};

	lt7911d@2b {
		compatible = "lontium,lt7911d-fb-notifier";
		reg = <0x2b>;
		status = "okay";
	};
};

&mipidcphy0 {
	status = "okay";
};

&pinctrl {
	serdes {
		i2c2_serdes_pins: i2c2-serdes-pins {
			rockchip,pins =
				<2 RK_PB1 RK_FUNC_GPIO &pcfg_pull_up>;
		};

		i2c5_serdes_pins: i2c5-serdes-pins {
			rockchip,pins =
				<2 RK_PD1 RK_FUNC_GPIO &pcfg_pull_up>;
		};

		i2c8_serdes_pins: i2c8-serdes-pins {
			rockchip,pins =
				<2 RK_PC7 RK_FUNC_GPIO &pcfg_pull_up>;
		};
	};
};

/* dsi->serdes->lvds_panel */
&pwm1_6ch_1 {
	status = "okay";
	pinctrl-0 = <&pwm1m0_ch1>;
};

/* dp->serdes->lvds_panel */
&pwm2_8ch_0 {
	pinctrl-0 = <&pwm2m2_ch0>;
	status = "okay";
};


/* edp->serdes->lvds_panel */
&pwm2_8ch_5 {
	pinctrl-0 = <&pwm2m1_ch5>;
	status = "okay";
};

&route_dp0 {
	status = "disabled";
	connect = <&vp0_out_dp0>;
	logo,uboot = "logo34.bmp";
	logo,kernel = "logo34.bmp";
};

&route_dsi {
	status = "disabled";
	connect = <&vp2_out_dsi>;
	logo,uboot = "logo1.bmp";
	logo,kernel = "logo1.bmp";
};

&route_edp {
	status = "disabled";
	connect = <&vp1_out_edp>;
	logo,uboot = "logo2.bmp";
	logo,kernel = "logo2.bmp";
};

&usbdp_phy {
	rockchip,dp-lane-mux = <0 1 2 3>;
	status = "okay";
};

&usbdp_phy_dp {
	status = "okay";
};

&usbdp_phy_u3 {
	maximum-speed = "high-speed";
	status = "okay";
};

&vop {
	assigned-clocks = <&cru PLL_VPLL>;
	assigned-clock-rates = <1150000000>;
};

//dsi
&vp1 {
	assigned-clocks = <&cru DCLK_VP1_SRC>;
	assigned-clock-parents = <&cru PLL_VPLL>;
};

